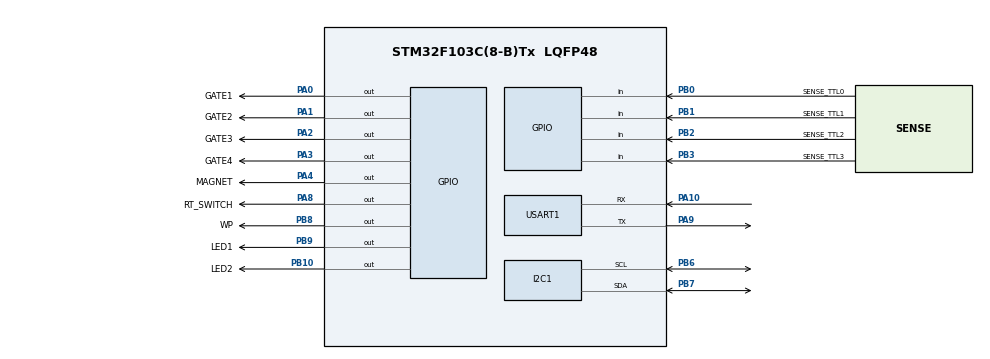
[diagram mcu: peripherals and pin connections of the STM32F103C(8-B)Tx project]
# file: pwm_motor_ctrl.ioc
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Mcu.Family=STM32F1
Mcu.Name=STM32F103C(8-B)Tx
Mcu.Package=LQFP48
NVIC.PriorityGroup=NVIC_PRIORITYGROUP_4
NVIC.TIM2_IRQn=true\:0\:0\:false\:false\:true
PA0-WKUP.GPIO_Label=GATE1
PA0-WKUP.Signal=GPIO_Output
PA1.GPIO_Label=GATE2
PA1.Signal=GPIO_Output
PA10.Mode=Asynchronous
PA10.Signal=USART1_RX
PA13.Mode=Serial_Wire
PA13.Signal=SYS_JTMS-SWDIO
PA14.Mode=Serial_Wire
PA14.Signal=SYS_JTCK-SWCLK
PA2.GPIO_Label=GATE3
PA2.Signal=GPIO_Output
PA3.GPIO_Label=GATE4
PA3.Signal=GPIO_Output
PA4.GPIO_Label=MAGNET
PA4.Signal=GPIO_Output
PA8.GPIO_Label=RT_SWITCH
PA8.Signal=GPIO_Output
PA9.Mode=Asynchronous
PA9.Signal=USART1_TX
PB0.GPIO_Label=SENSE_TTL0
PB0.Signal=GPIO_Input
PB1.GPIO_Label=SENSE_TTL1
PB1.Signal=GPIO_Input
PB10.GPIO_Label=LED2
PB10.Signal=GPIO_Output
PB2.GPIO_Label=SENSE_TTL2
PB2.Signal=GPIO_Input
PB3.GPIO_Label=SENSE_TTL3
PB3.Signal=GPIO_Input
PB6.Mode=I2C
PB6.Signal=I2C1_SCL
PB7.Mode=I2C
PB7.Signal=I2C1_SDA
PB8.GPIO_Label=WP
PB8.Signal=GPIO_Output
PB9.GPIO_Label=LED1
PB9.Signal=GPIO_Output
PD0-OSC_IN.Mode=HSE-External-Oscillator
PD0-OSC_IN.Signal=RCC_OSC_IN
PD1-OSC_OUT.Mode=HSE-External-Oscillator
PD1-OSC_OUT.Signal=RCC_OSC_OUT
ProjectManager.HeapSize=0x200
ProjectManager.StackSize=0x400
ProjectManager.TargetToolchain=MDK-ARM V5
RCC.AHBCLKDivider=RCC_SYSCLK_DIV1
RCC.APB1CLKDivider=RCC_HCLK_DIV1
RCC.APB1Freq_Value=8000000
RCC.APB2Freq_Value=8000000
RCC.PLLSourceVirtual=RCC_PLLSOURCE_HSE
RCC.USBFreq_Value=16000000
TIM2.Period=1000
TIM2.Prescaler=8000-1
USART1.VirtualMode=VM_ASYNC
VP_TIM2_VS_ClockSourceINT.Mode=Internal
board=pwm_motor_ctrl

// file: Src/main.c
/**
  ******************************************************************************
  * File Name          : main.c
  * Description        : Main program body
  ******************************************************************************
  ** This notice applies to any and all portions of this file
  * that are not between comment pairs USER CODE BEGIN and
  * USER CODE END. Other portions of this file, whether
  * inserted by the user or by software development tools
  * are owned by their respective copyright owners.
  *
  * COPYRIGHT(c) 2017 STMicroelectronics
  *
  * Redistribution and use in source and binary forms, with or without modification,
  * are permitted provided that the following conditions are met:
  *   1. Redistributions of source code must retain the above copyright notice,
  *      this list of conditions and the following disclaimer.
  *   2. Redistributions in binary form must reproduce the above copyright notice,
  *      this list of conditions and the following disclaimer in the documentation
  *      and/or other materials provided with the distribution.
  *   3. Neither the name of STMicroelectronics nor the names of its contributors
  *      may be used to endorse or promote products derived from this software
  *      without specific prior written permission.
  *
  * THIS SOFTWARE IS PROVIDED BY THE COPYRIGHT HOLDERS AND CONTRIBUTORS "AS IS"
  * AND ANY EXPRESS OR IMPLIED WARRANTIES, INCLUDING, BUT NOT LIMITED TO, THE
  * IMPLIED WARRANTIES OF MERCHANTABILITY AND FITNESS FOR A PARTICULAR PURPOSE ARE
  * DISCLAIMED. IN NO EVENT SHALL THE COPYRIGHT HOLDER OR CONTRIBUTORS BE LIABLE
  * FOR ANY DIRECT, INDIRECT, INCIDENTAL, SPECIAL, EXEMPLARY, OR CONSEQUENTIAL
  * DAMAGES (INCLUDING, BUT NOT LIMITED TO, PROCUREMENT OF SUBSTITUTE GOODS OR
  * SERVICES; LOSS OF USE, DATA, OR PROFITS; OR BUSINESS INTERRUPTION) HOWEVER
  * CAUSED AND ON ANY THEORY OF LIABILITY, WHETHER IN CONTRACT, STRICT LIABILITY,
  * OR TORT (INCLUDING NEGLIGENCE OR OTHERWISE) ARISING IN ANY WAY OUT OF THE USE
  * OF THIS SOFTWARE, EVEN IF ADVISED OF THE POSSIBILITY OF SUCH DAMAGE.
  *
  ******************************************************************************
  */
#include "main.h"
#include "stm32f1xx_hal.h"

/* USER CODE BEGIN Includes */

#include <string.h>
#include <stdio.h>
#include "fet_switch.h"
#include "sensor.h"
#include "delay.h"
#include "24lc02.h"
#include "console.h"

/* USER CODE END Includes */

I2C_HandleTypeDef hi2c1;

TIM_HandleTypeDef htim2;

UART_HandleTypeDef huart1;

/* USER CODE BEGIN PV */
/* Private variables ---------------------------------------------------------*/

char UARTBuff[255];								// Буфер UART

#define STATE_FORWARD 	0x01			// Вперед
#define STATE_BACKWARD 	0x02			// Назад
#define STATE_HARDSTOP	0x03			// Тормоз
#define STATE_STOP 			0x00			// Остановка

#define I2C_MEM_ADDR 		0x50			// Адрес I2C микросхемы EEPROM

extern unsigned char DevState;		// Режим работы
extern unsigned char PWMValue;		// Текущее значение PWM
unsigned char SensorState;				// Состояние концевиков
unsigned char PrevSensorState=0;	// Предыдущее состояние концевиков
unsigned char PWMSetting=0; 			// Уставка PWM

HAL_StatusTypeDef	flash_ok = HAL_ERROR;

struct PWMSettings								// Структура для хранения настроек (хранится в EEPROM)
{
	unsigned int ForwardSpeed;			// Скорость подъема
	unsigned int BackwardSpeed;		// Скорость опускания
	unsigned int  StopDelay;				// Задержка при накладывании тормоза при опускании
	unsigned int  SoftStartDelay;		// Задержка для плавного пуска
};

/* USER CODE END PV */

void SystemClock_Config(void);
static void MX_GPIO_Init(void);
static void MX_I2C1_Init(void);
static void MX_USART1_UART_Init(void);
static void MX_TIM2_Init(void);

/* USER CODE BEGIN PFP */
/* Private function prototypes -----------------------------------------------*/

/* USER CODE END PFP */

int main(void)
{

  /* USER CODE BEGIN 1 */

	struct PWMSettings MySettings;

	// Уставки

	MySettings.ForwardSpeed=90;  				// Подъем (% заполнения ШИМ)
	MySettings.BackwardSpeed=20;				// Опускание (% заполнения ШИМ)
	MySettings.SoftStartDelay=20;				// Задержка приращения скорости нарастания плавного пуска
	MySettings.StopDelay=500;						// Задержка перед накладыванием тормоза при опускании

  /* USER CODE END 1 */

  /* MCU Configuration----------------------------------------------------------*/

  /* Reset of all peripherals, Initializes the Flash interface and the Systick. */
  HAL_Init();

  /* Configure the system clock */
  SystemClock_Config();

  /* Initialize all configured peripherals */
  MX_GPIO_Init();
  MX_I2C1_Init();
  MX_USART1_UART_Init();
  MX_TIM2_Init();

  /* USER CODE BEGIN 2 */

	SensorState=GetSensorState();
	DevState=STATE_STOP;

	HAL_GPIO_WritePin(RT_SWITCH_GPIO_Port,RT_SWITCH_Pin,GPIO_PIN_SET); // Запись в RS-485

	sprintf(UARTBuff,"Forward speed: %d\r\n",MySettings.ForwardSpeed);
	ConsoleWrite(UARTBuff);
	sprintf(UARTBuff,"Backward speed: %d\r\n",MySettings.BackwardSpeed);
	ConsoleWrite(UARTBuff);
	sprintf(UARTBuff,"Backward stop delay: %d\r\n",MySettings.StopDelay);
	ConsoleWrite(UARTBuff);

	HAL_TIM_Base_Start_IT(&htim2);  // Поехали (с) Ю. Гагарин

  /* USER CODE END 2 */

  /* Infinite loop */
  /* USER CODE BEGIN WHILE */

  while (1)
  {

// Маска датчиков: 	0x01 - прожектор
//									0x02 - концевик верх
//									0x04 - концевик низ

		SensorState=GetSensorState();

		if((SensorState & 0x01) == 0x01) // Прожектор вверху
		{
			ConsoleWrite("Projector is UP!\r");

			if((SensorState & 0x04)==0x04) // Нижний концевик активен
			{
				ConsoleWrite("Lift is down, start moving UP\r\n");
				// TODO: подъем
				PWMValue=1;
				PWMSetting=MySettings.ForwardSpeed;
				DevState=STATE_FORWARD; //Едем вверх
				while(PWMValue++ <= PWMSetting-2) delay_ms(MySettings.SoftStartDelay);		// Плавный пуск
				while((GetSensorState() & 0x04)==0x04); // Ждем схода с концевика
				ConsoleWrite("Down switch if OFF\r\n");
				while((GetSensorState() & 0x02)!=0x02); // Ждем прихода на концевик
				ConsoleWrite("Up switch is ON\r\n");
				MagnetOn();
				ConsoleWrite("Magnet is ON\r\n");
				DevState=STATE_HARDSTOP;
			}
		}

		if((SensorState & 0x01) == 0x00) //Прожектор сошел вниз
		{
			PWMValue=MySettings.BackwardSpeed;
			ConsoleWrite("Projector is DOWN!\r");

			if((SensorState & 0x02)==0x02) // Верхний концевик активен
			{
				// TODO: Опускание

				PWMValue=1;
				PWMSetting=MySettings.BackwardSpeed;
				if(GetSensorState() & 0x02) //Лифт вверху
				{
					ConsoleWrite("Lift is DOWN, moving UP\r\n");
					ConsoleWrite("Magnet is OFF\r\n");
					MagnetOff();
					DevState=STATE_BACKWARD; //Едем вниз
					while(PWMValue++ <= PWMSetting-2) delay_ms(MySettings.SoftStartDelay);	// Плавный пуск
					while((GetSensorState() & 0x02)==0x02); // Ждем схода с концевика
					ConsoleWrite("Up switch is OFF\r\n");
					delay_ms(MySettings.StopDelay); // Работаем 0.5с, и ставим на тормоз для опускания самоходом
					DevState=STATE_HARDSTOP;
					while((GetSensorState() & 0x04)!=0x04); // Ждем прихода на концевик
					ConsoleWrite("Down switch is ON\r\n");
					DevState=STATE_HARDSTOP;
				}
			}
		}

		DevState=STATE_STOP;
		PrevSensorState=SensorState;
		delay_ms(100);
 } // loop ends
} // main() ends
  /* USER CODE END WHILE */

/** System Clock Configuration
*/
void SystemClock_Config(void)
{

  RCC_OscInitTypeDef RCC_OscInitStruct;
  RCC_ClkInitTypeDef RCC_ClkInitStruct;

    /**Initializes the CPU, AHB and APB busses clocks
    */
  RCC_OscInitStruct.OscillatorType = RCC_OSCILLATORTYPE_HSI;
  RCC_OscInitStruct.HSIState = RCC_HSI_ON;
  RCC_OscInitStruct.HSICalibrationValue = 16;
  RCC_OscInitStruct.PLL.PLLState = RCC_PLL_NONE;
  if (HAL_RCC_OscConfig(&RCC_OscInitStruct) != HAL_OK)
  {
    _Error_Handler(__FILE__, __LINE__);
  }

    /**Initializes the CPU, AHB and APB busses clocks
    */
  RCC_ClkInitStruct.ClockType = RCC_CLOCKTYPE_HCLK|RCC_CLOCKTYPE_SYSCLK
                              |RCC_CLOCKTYPE_PCLK1|RCC_CLOCKTYPE_PCLK2;
  RCC_ClkInitStruct.SYSCLKSource = RCC_SYSCLKSOURCE_HSI;
  RCC_ClkInitStruct.AHBCLKDivider = RCC_SYSCLK_DIV1;
  RCC_ClkInitStruct.APB1CLKDivider = RCC_HCLK_DIV1;
  RCC_ClkInitStruct.APB2CLKDivider = RCC_HCLK_DIV1;

  if (HAL_RCC_ClockConfig(&RCC_ClkInitStruct, FLASH_LATENCY_0) != HAL_OK)
  {
    _Error_Handler(__FILE__, __LINE__);
  }

    /**Configure the Systick interrupt time
    */
  HAL_SYSTICK_Config(HAL_RCC_GetHCLKFreq()/1000);

    /**Configure the Systick
    */
  HAL_SYSTICK_CLKSourceConfig(SYSTICK_CLKSOURCE_HCLK);

  /* SysTick_IRQn interrupt configuration */
  HAL_NVIC_SetPriority(SysTick_IRQn, 0, 0);
}

/* I2C1 init function */
static void MX_I2C1_Init(void)
{

  hi2c1.Instance = I2C1;
  hi2c1.Init.ClockSpeed = 100000;
  hi2c1.Init.DutyCycle = I2C_DUTYCYCLE_2;
  hi2c1.Init.OwnAddress1 = 0;
  hi2c1.Init.AddressingMode = I2C_ADDRESSINGMODE_7BIT;
  hi2c1.Init.DualAddressMode = I2C_DUALADDRESS_DISABLE;
  hi2c1.Init.OwnAddress2 = 0;
  hi2c1.Init.GeneralCallMode = I2C_GENERALCALL_DISABLE;
  hi2c1.Init.NoStretchMode = I2C_NOSTRETCH_DISABLE;
  if (HAL_I2C_Init(&hi2c1) != HAL_OK)
  {
    _Error_Handler(__FILE__, __LINE__);
  }

}

/* TIM2 init function */
static void MX_TIM2_Init(void)
{

  TIM_ClockConfigTypeDef sClockSourceConfig;
  TIM_MasterConfigTypeDef sMasterConfig;

  htim2.Instance = TIM2;
  htim2.Init.Prescaler = 8;
  htim2.Init.CounterMode = TIM_COUNTERMODE_UP;
  htim2.Init.Period = 10-1;
  htim2.Init.ClockDivision = TIM_CLOCKDIVISION_DIV1;
  if (HAL_TIM_Base_Init(&htim2) != HAL_OK)
  {
    _Error_Handler(__FILE__, __LINE__);
  }

  sClockSourceConfig.ClockSource = TIM_CLOCKSOURCE_INTERNAL;
  if (HAL_TIM_ConfigClockSource(&htim2, &sClockSourceConfig) != HAL_OK)
  {
    _Error_Handler(__FILE__, __LINE__);
  }

  sMasterConfig.MasterOutputTrigger = TIM_TRGO_RESET;
  sMasterConfig.MasterSlaveMode = TIM_MASTERSLAVEMODE_DISABLE;
  if (HAL_TIMEx_MasterConfigSynchronization(&htim2, &sMasterConfig) != HAL_OK)
  {
    _Error_Handler(__FILE__, __LINE__);
  }

}

/* USART1 init function */
static void MX_USART1_UART_Init(void)
{

  huart1.Instance = USART1;
  huart1.Init.BaudRate = 115200;
  huart1.Init.WordLength = UART_WORDLENGTH_8B;
  huart1.Init.StopBits = UART_STOPBITS_1;
  huart1.Init.Parity = UART_PARITY_NONE;
  huart1.Init.Mode = UART_MODE_TX_RX;
  huart1.Init.HwFlowCtl = UART_HWCONTROL_NONE;
  huart1.Init.OverSampling = UART_OVERSAMPLING_16;
  if (HAL_UART_Init(&huart1) != HAL_OK)
  {
    _Error_Handler(__FILE__, __LINE__);
  }

}

/** Configure pins as
        * Analog
        * Input
        * Output
        * EVENT_OUT
        * EXTI
*/
static void MX_GPIO_Init(void)
{

  GPIO_InitTypeDef GPIO_InitStruct;

  /* GPIO Ports Clock Enable */
  __HAL_RCC_GPIOD_CLK_ENABLE();
  __HAL_RCC_GPIOA_CLK_ENABLE();
  __HAL_RCC_GPIOB_CLK_ENABLE();

  /*Configure GPIO pin Output Level */
  HAL_GPIO_WritePin(GPIOA, GATE1_Pin|GATE2_Pin|GATE3_Pin|GATE4_Pin
                          |MAGNET_Pin|RT_SWITCH_Pin, GPIO_PIN_RESET);

  /*Configure GPIO pin Output Level */
  HAL_GPIO_WritePin(GPIOB, LED2_Pin|WP_Pin|LED1_Pin, GPIO_PIN_RESET);

  /*Configure GPIO pins : GATE1_Pin GATE2_Pin GATE3_Pin GATE4_Pin
                           MAGNET_Pin RT_SWITCH_Pin */
  GPIO_InitStruct.Pin = GATE1_Pin|GATE2_Pin|GATE3_Pin|GATE4_Pin
                          |MAGNET_Pin|RT_SWITCH_Pin;
  GPIO_InitStruct.Mode = GPIO_MODE_OUTPUT_PP;
  GPIO_InitStruct.Speed = GPIO_SPEED_FREQ_LOW;
  HAL_GPIO_Init(GPIOA, &GPIO_InitStruct);

  /*Configure GPIO pins : SENSE_TTL0_Pin SENSE_TTL1_Pin SENSE_TTL2_Pin SENSE_TTL3_Pin */
  GPIO_InitStruct.Pin = SENSE_TTL0_Pin|SENSE_TTL1_Pin|SENSE_TTL2_Pin|SENSE_TTL3_Pin;
  GPIO_InitStruct.Mode = GPIO_MODE_INPUT;
  GPIO_InitStruct.Pull = GPIO_NOPULL;
  HAL_GPIO_Init(GPIOB, &GPIO_InitStruct);

  /*Configure GPIO pins : LED2_Pin WP_Pin LED1_Pin */
  GPIO_InitStruct.Pin = LED2_Pin|WP_Pin|LED1_Pin;
  GPIO_InitStruct.Mode = GPIO_MODE_OUTPUT_PP;
  GPIO_InitStruct.Speed = GPIO_SPEED_FREQ_LOW;
  HAL_GPIO_Init(GPIOB, &GPIO_InitStruct);

}

void _Error_Handler(char * file, int line)
{
  while(1)
  {
  }
}

/************************ (C) COPYRIGHT STMicroelectronics *****END OF FILE****/
